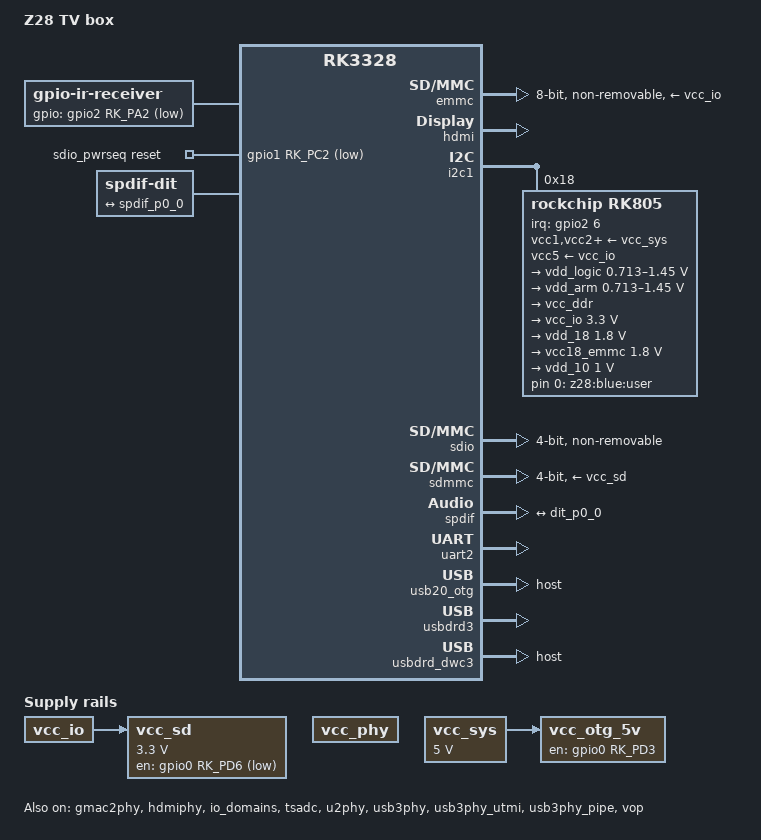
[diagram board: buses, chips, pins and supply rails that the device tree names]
// SPDX-License-Identifier: (GPL-2.0+ OR MIT)
/*
 * Copyright (c) 2022 Heiko Stuebner <heiko@sntech.de
 */

/dts-v1/;
#include "rk3328.dtsi"

/ {
	model = "Z28 TV box";
	compatible = "rockchip,z28", "rockchip,rk3328";

	aliases {
		mmc0 = &sdmmc;
		mmc1 = &emmc;
	};

	chosen {
		stdout-path = "serial2:1500000n8";
	};

	ir: ir-receiver {
		compatible = "gpio-ir-receiver";
		gpios = <&gpio2 RK_PA2 GPIO_ACTIVE_LOW>;
		linux,rc-map-name = "rc-z28";
		pinctrl-names = "default";
		pinctrl-0 = <&ir_int>;
	};

	leds {
		compatible = "gpio-leds";
//		pinctrl-names = "default";
//		pinctrl-0 = <&led_red>;

		led-blue {
			gpios = <&rk805 0 GPIO_ACTIVE_HIGH>;
			label = "z28:blue:user";
			linux,default-trigger = "none";
			default-state = "on";
		};

/*		net-green {
			gpios = <&rk805 1 GPIO_ACTIVE_HIGH>;
			label = "z28:led2:user";
			linux,default-trigger = "none";
			default-state = "on";
		};

		led-red {
			gpios = <&gpio2 RK_PC2 GPIO_ACTIVE_HIGH>;
			label = "z28:red:user";
			linux,default-trigger = "none";
			default-state = "on";
		}; */
	};

	sdio_pwrseq: sdio-pwrseq {
		compatible = "mmc-pwrseq-simple";
		pinctrl-names = "default";
		pinctrl-0 = <&wifi_enable_h>;

		/*
		 * On the module itself this is one of these (depending
		 * on the actual card populated):
		 * - SDIO_RESET_L_WL_REG_ON
		 * - PDN (power down when low)
		 */
		reset-gpios = <&gpio1 RK_PC2 GPIO_ACTIVE_LOW>;
	};

	vcc_sd: sdmmc-regulator {
		compatible = "regulator-fixed";
		gpio = <&gpio0 RK_PD6 GPIO_ACTIVE_LOW>;
		pinctrl-names = "default";
		pinctrl-0 = <&sdmmc0m1_pin>;
		regulator-name = "vcc_sd";
		regulator-min-microvolt = <3300000>;
		regulator-max-microvolt = <3300000>;
		vin-supply = <&vcc_io>;
	};

	vcc_otg_5v: vcc-otg-5v-regulator {
		compatible = "regulator-fixed";
		enable-active-high;
		gpio = <&gpio0 RK_PD3 GPIO_ACTIVE_HIGH>;
		pinctrl-names = "default";
		pinctrl-0 = <&usb20_otg_drv>;
		regulator-name = "vcc_otg_5v";
		regulator-always-on;
		vin-supply = <&vcc_sys>;
	};

	vcc_phy: vcc-phy-regulator {
		compatible = "regulator-fixed";
		regulator-name = "vcc_phy";
		regulator-always-on;
		regulator-boot-on;
	};

	vcc_sys: vcc-sys {
		compatible = "regulator-fixed";
		regulator-name = "vcc_sys";
		regulator-always-on;
		regulator-boot-on;
		regulator-min-microvolt = <5000000>;
		regulator-max-microvolt = <5000000>;
	};

	sound {
		compatible = "audio-graph-card";
		label = "rockchip,rk3328";
		dais = <&spdif_p0>;
	};

	spdif-dit {
		compatible = "linux,spdif-dit";
		#sound-dai-cells = <0>;

		port {
			dit_p0_0: endpoint {
				remote-endpoint = <&spdif_p0_0>;
			};
		};
	};
};

&cpu0 {
	cpu-supply = <&vdd_arm>;
};

&cpu1 {
	cpu-supply = <&vdd_arm>;
};

&cpu2 {
	cpu-supply = <&vdd_arm>;
};

&cpu3 {
	cpu-supply = <&vdd_arm>;
};

&emmc {
	bus-width = <8>;
	cap-mmc-highspeed;
	non-removable;
	pinctrl-names = "default";
	pinctrl-0 = <&emmc_clk &emmc_cmd &emmc_bus8>;
	vmmc-supply = <&vcc_io>;
	vqmmc-supply = <&vcc18_emmc>;
	status = "okay";
};

&gmac2phy {
	clock_in_out = "output";
	phy-supply = <&vcc_phy>;
	status = "okay";
};

&hdmi {
	status = "okay";
};

&hdmiphy {
	status = "okay";
};

&i2c1 {
	status = "okay";

	rk805: pmic@18 {
		compatible = "rockchip,rk805";
		reg = <0x18>;
		interrupt-parent = <&gpio2>;
		interrupts = <6 IRQ_TYPE_LEVEL_LOW>;
		#clock-cells = <1>;
		clock-output-names = "xin32k", "rk805-clkout2";
		gpio-controller;
		#gpio-cells = <2>;
		pinctrl-names = "default";
		pinctrl-0 = <&pmic_int_l>;
		rockchip,system-power-controller;
		wakeup-source;

		vcc1-supply = <&vcc_sys>;
		vcc2-supply = <&vcc_sys>;
		vcc3-supply = <&vcc_sys>;
		vcc4-supply = <&vcc_sys>;
		vcc5-supply = <&vcc_io>;
		vcc6-supply = <&vcc_sys>;

		regulators {
			vdd_logic: DCDC_REG1 {
				regulator-name = "vdd_logic";
				regulator-min-microvolt = <712500>;
				regulator-max-microvolt = <1450000>;
				regulator-ramp-delay = <12500>;
				regulator-always-on;
				regulator-boot-on;
				regulator-state-mem {
					regulator-on-in-suspend;
					regulator-suspend-microvolt = <1000000>;
				};
			};

			vdd_arm: DCDC_REG2 {
				regulator-name = "vdd_arm";
				regulator-min-microvolt = <712500>;
				regulator-max-microvolt = <1450000>;
				regulator-ramp-delay = <12500>;
				regulator-always-on;
				regulator-boot-on;
				regulator-state-mem {
					regulator-on-in-suspend;
					regulator-suspend-microvolt = <950000>;
				};
			};

			vcc_ddr: DCDC_REG3 {
				regulator-name = "vcc_ddr";
				regulator-always-on;
				regulator-boot-on;
				regulator-state-mem {
					regulator-on-in-suspend;
				};
			};

			vcc_io: DCDC_REG4 {
				regulator-name = "vcc_io";
				regulator-min-microvolt = <3300000>;
				regulator-max-microvolt = <3300000>;
				regulator-always-on;
				regulator-boot-on;
				regulator-state-mem {
					regulator-on-in-suspend;
					regulator-suspend-microvolt = <3300000>;
				};
			};

			vdd_18: LDO_REG1 {
				regulator-name = "vdd_18";
				regulator-min-microvolt = <1800000>;
				regulator-max-microvolt = <1800000>;
				regulator-always-on;
				regulator-boot-on;
				regulator-state-mem {
					regulator-on-in-suspend;
					regulator-suspend-microvolt = <1800000>;
				};
			};

			vcc18_emmc: LDO_REG2 {
				regulator-name = "vcc_18emmc";
				regulator-min-microvolt = <1800000>;
				regulator-max-microvolt = <1800000>;
				regulator-always-on;
				regulator-boot-on;
				regulator-state-mem {
					regulator-on-in-suspend;
					regulator-suspend-microvolt = <1800000>;
				};
			};

			vdd_10: LDO_REG3 {
				regulator-name = "vdd_10";
				regulator-min-microvolt = <1000000>;
				regulator-max-microvolt = <1000000>;
				regulator-always-on;
				regulator-boot-on;
				regulator-state-mem {
					regulator-on-in-suspend;
					regulator-suspend-microvolt = <1000000>;
				};
			};
		};
	};
};

&io_domains {
	status = "okay";

	vccio1-supply = <&vcc_io>;
	vccio2-supply = <&vcc18_emmc>;
	vccio3-supply = <&vcc_io>;
	vccio4-supply = <&vdd_18>;
	vccio5-supply = <&vcc_io>;
	vccio6-supply = <&vcc_io>;
	pmuio-supply = <&vcc_io>;
};

&pinctrl {
	ir {
		ir_int: ir-int {
			rockchip,pins = <2 RK_PA2 RK_FUNC_GPIO &pcfg_pull_none>;
		};
	};

/*	leds {
		led_red: led-red {
			rockchip,pins = <2 RK_PC2 RK_FUNC_GPIO &pcfg_pull_none>;
		};
	};*/

	pmic {
		pmic_int_l: pmic-int-l {
			rockchip,pins = <2 RK_PA6 RK_FUNC_GPIO &pcfg_pull_up>;
		};
	};

	sdio-pwrseq {
		wifi_enable_h: wifi-enable-h {
			rockchip,pins = <1 RK_PC2 RK_FUNC_GPIO &pcfg_pull_none>;
		};
	};

	usb2 {
		usb20_otg_drv: usb20-otg-drv {
			rockchip,pins = <0 RK_PD3 RK_FUNC_GPIO &pcfg_pull_none>;
		};
	};
};

&sdio {
	bus-width = <4>;
	cap-sd-highspeed;
	cap-sdio-irq;
	disable-wp;
	keep-power-in-suspend;
	max-frequency = <150000000>;
	mmc-pwrseq = <&sdio_pwrseq>;
	non-removable;
	pinctrl-names = "default";
	pinctrl-0 = <&sdmmc1_bus4 &sdmmc1_cmd &sdmmc1_clk>;
	supports-sdio;
	status = "okay";
};

&sdmmc {
	bus-width = <4>;
	cap-mmc-highspeed;
	cap-sd-highspeed;
	disable-wp;
	max-frequency = <150000000>;
	pinctrl-names = "default";
	pinctrl-0 = <&sdmmc0_clk &sdmmc0_cmd &sdmmc0_dectn &sdmmc0_bus4>;
	vmmc-supply = <&vcc_sd>;
	status = "okay";
};

&spdif {
	pinctrl-0 = <&spdifm2_tx>;
	status = "okay";
	#sound-dai-cells = <0>;

	spdif_p0: port {
		spdif_p0_0: endpoint {
			remote-endpoint = <&dit_p0_0>;
		};
	};
};

&tsadc {
	rockchip,hw-tshut-mode = <0>;
	rockchip,hw-tshut-polarity = <0>;
	status = "okay";
};

&uart2 {
	status = "okay";
};

&u2phy {
	status = "okay";

	u2phy_otg: otg-port {
		status = "okay";
	};
};

&usb20_otg {
	dr_mode = "host";
	status = "okay";
};

&usb3phy {
	status = "okay";
};

&usb3phy_utmi {
	status = "okay";
};

&usb3phy_pipe {
	status = "okay";
};

&usbdrd3 {
	status = "okay";
};

&usbdrd_dwc3 {
	dr_mode = "host";
	status = "okay";
};

&vop {
	status = "okay";
};

&vop_mmu {
	status = "okay";
};
